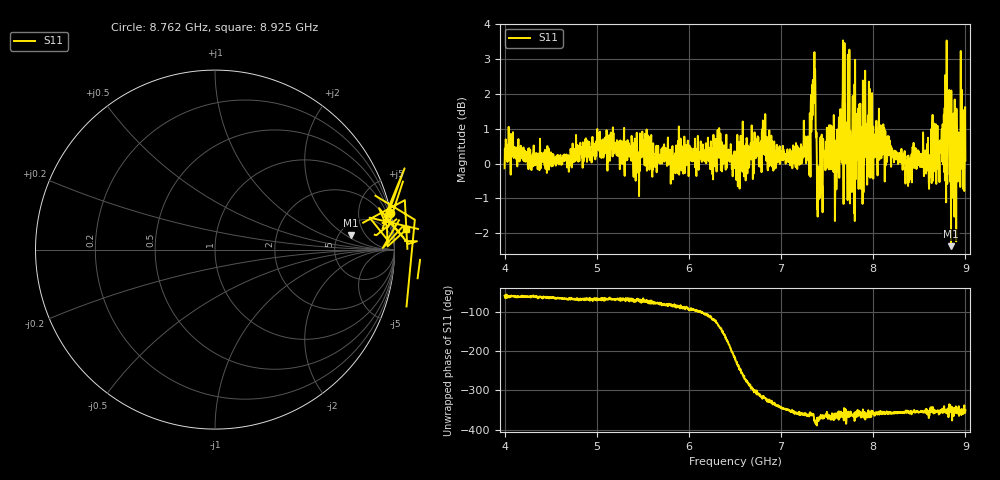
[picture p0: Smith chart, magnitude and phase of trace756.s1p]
! Created with skrf 1.8.0 (http://scikit-rf.org).
# Hz S RI R 50.0
!freq ReS11 ImS11
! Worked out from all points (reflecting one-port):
!   1601 points, 4 GHz to 9 GHz, reference 50 ohm
!   lowest |S11| = -2.4 dB at 8.844 GHz (marker M1), VSWR 7.37, Z = 320 + j124 ohm
!   phase of S11 starts at -60 deg and turns -291 deg over the sweep
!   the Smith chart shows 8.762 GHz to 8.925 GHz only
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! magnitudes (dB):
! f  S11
! 4 GHz  -0.1
! 4.625 GHz  0.0
! 5.25 GHz  -0.2
! 5.875 GHz  0.0
! 6.328 GHz  1.0
! 6.5 GHz  0.2
! 6.806 GHz  0.5
! 7.125 GHz  0.2
! 7.294 GHz  0.3
! 7.347 GHz  2.4
! 7.362 GHz  3.2
! 7.397 GHz  -1.5
! 7.412 GHz  -0.7
! 7.481 GHz  -0.2
! 7.609 GHz  -0.2
! 7.669 GHz  2.0
! 7.75 GHz  0.9
! 7.769 GHz  0.0
! 7.822 GHz  0.8
! 7.881 GHz  0.7
! 7.962 GHz  2.1
! 8.375 GHz  0.1
! 8.612 GHz  0.2
! 8.809 GHz  1.4
! 8.844 GHz  -2.4
! 8.919 GHz  -0.3
! 8.972 GHz  0.7
! 9 GHz  0.1
